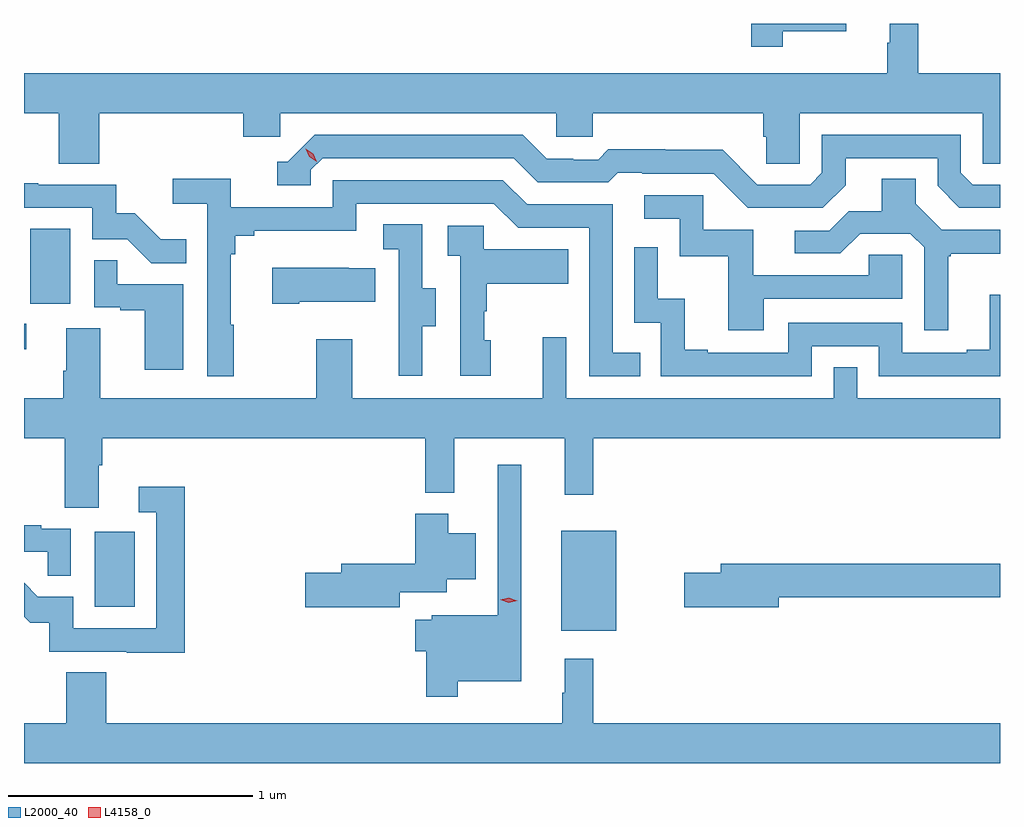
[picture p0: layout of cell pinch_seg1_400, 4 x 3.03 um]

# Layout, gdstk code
import gdstk
lib = gdstk.Library(unit=1e-6, precision=1e-09)
def R(c, l, rs):  # rectangles x0, y0, x1, y1
    for r in rs: c.add(gdstk.rectangle(r[:2], r[2:], *l))
def P(c, l, *ps):  # polygons
    for p in ps: c.add(gdstk.Polygon(p, *l))
L2000_40 = (2000, 40)
L4158_0 = (4158, 0)

pinch_seg1_400 = lib.new_cell('pinch_seg1_400')
R(pinch_seg1_400, L2000_40, [(947.381,536.291,947.608,536.701), (945.47,536.388,945.634,536.695), (945.18,537.444,945.19,537.549), (945.206,537.63,945.37,537.937)])
P(pinch_seg1_400, L2000_40, [(948.289,538.748),(948.55,538.748),(948.55,538.777),(948.16,538.777),(948.16,538.683),(948.289,538.683)],
  [(945.488,538.412),(946.079,538.412),(946.079,538.314),(946.23,538.314),(946.23,538.412),(947.361,538.412),(947.361,538.314),(947.511,538.314),(947.511,538.412),(948.209,538.412),(948.209,538.314),(948.223,538.314),(948.223,538.204),(948.36,538.204),(948.36,538.412),(949.11,538.412),(949.11,538.204),(949.18,538.204),(949.18,538.576),(948.845,538.576),(948.845,538.777),(948.728,538.777),(948.728,538.7),(948.717,538.7),(948.717,538.576),(945.18,538.576),(945.18,538.412),(945.323,538.412),(945.323,538.204),(945.488,538.204)],
  [(948.547,538.117),(948.547,538.227),(948.924,538.227),(948.924,538.113),(949.014,538.023),(949.18,538.023),(949.18,538.119),(949.068,538.119),(949.02,538.167),(949.02,538.323),(948.45,538.323),(948.45,538.167),(948.402,538.119),(948.186,538.119),(948.044,538.261),(947.808,538.261),(947.808,538.264),(947.575,538.264),(947.533,538.221),(947.43,538.221),(947.43,538.224),(947.323,538.224),(947.224,538.323),(946.371,538.323),(946.26,538.212),(946.217,538.212),(946.217,538.116),(946.356,538.116),(946.356,538.179),(946.404,538.227),(947.187,538.227),(947.286,538.128),(947.575,538.128),(947.614,538.167),(947.713,538.167),(947.713,538.164),(948.006,538.164),(948.147,538.023),(948.453,538.023)],
  [(948.967,537.825),(948.979,537.825),(948.979,537.836),(949.18,537.836),(949.18,537.933),(948.942,537.933),(948.835,538.04),(948.835,538.142),(948.695,538.142),(948.695,538.01),(948.56,538.01),(948.48,537.93),(948.339,537.93),(948.339,537.837),(948.526,537.837),(948.607,537.918),(948.813,537.918),(948.87,537.861),(948.87,537.522),(948.967,537.522)],
  [(946.039,537.545),(946.027,537.545),(946.027,537.833),(946.046,537.833),(946.046,537.91),(946.123,537.91),(946.123,537.929),(946.542,537.929),(946.542,538.041),(947.106,538.041),(947.205,537.942),(947.496,537.942),(947.496,537.333),(947.705,537.333),(947.705,537.429),(947.592,537.429),(947.592,538.038),(947.242,538.038),(947.143,538.137),(946.446,538.137),(946.446,538.026),(946.028,538.026),(946.028,538.142),(945.789,538.142),(945.789,538.04),(945.93,538.04),(945.93,537.333),(946.039,537.333)],
  [(945.845,537.895),(945.741,537.895),(945.634,538.002),(945.558,538.002),(945.558,538.119),(945.239,538.119),(945.239,538.124),(945.18,538.124),(945.18,538.023),(945.459,538.023),(945.459,537.894),(945.603,537.894),(945.701,537.796),(945.845,537.796)],
  [(948.211,537.651),(948.78,537.651),(948.78,537.831),(948.643,537.831),(948.643,537.747),(948.169,537.747),(948.169,537.933),(947.964,537.933),(947.964,538.074),(947.721,538.074),(947.721,537.978),(947.868,537.978),(947.868,537.825),(948.067,537.825),(948.067,537.522),(948.211,537.522)],
  [(946.813,537.538),(946.867,537.538),(946.867,537.693),(946.812,537.693),(946.812,537.956),(946.653,537.956),(946.653,537.853),(946.716,537.853),(946.716,537.549),(946.715,537.549),(946.715,537.336),(946.813,537.336)],
  [(947.092,537.48),(947.067,537.48),(947.067,537.599),(947.077,537.599),(947.077,537.713),(947.411,537.713),(947.411,537.853),(947.064,537.853),(947.064,537.951),(946.917,537.951),(946.917,537.827),(946.968,537.827),(946.968,537.336),(947.092,537.336)],
  [(948.408,537.456),(948.684,537.456),(948.684,537.333),(949.18,537.333),(949.18,537.667),(949.139,537.667),(949.139,537.442),(949.043,537.442),(949.043,537.429),(948.78,537.429),(948.78,537.552),(948.312,537.552),(948.312,537.429),(947.983,537.429),(947.983,537.442),(947.888,537.442),(947.888,537.65),(947.778,537.65),(947.778,537.862),(947.682,537.862),(947.682,537.552),(947.79,537.552),(947.79,537.333),(948.408,537.333)],
  [(945.832,537.711),(945.563,537.711),(945.563,537.809),(945.468,537.809),(945.468,537.615),(945.575,537.615),(945.575,537.603),(945.674,537.603),(945.674,537.36),(945.832,537.36)],
  [(946.309,537.638),(946.619,537.638),(946.619,537.775),(946.511,537.775),(946.511,537.778),(946.197,537.778),(946.197,537.631),(946.309,537.631)],
  [(945.487,536.968),(945.5,536.968),(945.5,537.08),(946.825,537.08),(946.825,536.855),(946.943,536.855),(946.943,537.08),(947.396,537.08),(947.396,536.847),(947.513,536.847),(947.513,537.08),(949.18,537.08),(949.18,537.244),(948.594,537.244),(948.594,537.371),(948.498,537.371),(948.498,537.244),(947.403,537.244),(947.403,537.493),(947.306,537.493),(947.306,537.244),(946.525,537.244),(946.525,537.484),(946.378,537.484),(946.378,537.244),(945.493,537.244),(945.493,537.53),(945.353,537.53),(945.353,537.356),(945.341,537.356),(945.341,537.244),(945.18,537.244),(945.18,537.08),(945.347,537.08),(945.347,536.794),(945.487,536.794)],
  [(946.957,536.084),(947.218,536.084),(947.218,536.971),(947.121,536.971),(947.121,536.353),(946.851,536.353),(946.851,536.335),(946.784,536.335),(946.784,536.206),(946.828,536.206),(946.828,536.019),(946.957,536.019)],
  [(945.839,536.881),(945.651,536.881),(945.651,536.775),(945.723,536.775),(945.723,536.301),(945.381,536.301),(945.381,536.43),(945.236,536.43),(945.18,536.486),(945.18,536.348),(945.206,536.322),(945.283,536.322),(945.283,536.205),(945.601,536.205),(945.601,536.2),(945.839,536.2)],
  [(946.72,536.448),(946.912,536.448),(946.912,536.501),(947.032,536.501),(947.032,536.689),(946.918,536.689),(946.918,536.77),(946.784,536.77),(946.784,536.564),(946.481,536.564),(946.481,536.528),(946.332,536.528),(946.332,536.386),(946.72,536.386)],
  [(945.372,536.709),(945.251,536.709),(945.251,536.722),(945.18,536.722),(945.18,536.613),(945.277,536.613),(945.277,536.515),(945.372,536.515)],
  [(948.274,536.428),(949.18,536.428),(949.18,536.564),(948.035,536.564),(948.035,536.528),(947.886,536.528),(947.886,536.386),(948.274,536.386)],
  [(949.18,535.912),(947.513,535.912),(947.513,536.176),(947.396,536.176),(947.396,536.036),(947.385,536.036),(947.385,535.912),(945.518,535.912),(945.518,536.12),(945.353,536.12),(945.353,535.912),(945.18,535.912),(945.18,535.748),(949.18,535.748)])
P(pinch_seg1_400, L4158_0, [(947.166,536.405),(947.131,536.417),(947.131,536.417),(947.131,536.417),(947.167,536.425),(947.202,536.413),(947.202,536.413),(947.202,536.413)],
  [(946.38,538.213),(946.35,538.233),(946.334,538.266),(946.334,538.266),(946.334,538.266),(946.365,538.246),(946.38,538.213),(946.38,538.213)])

lib.write_gds('pinch_seg1_400.gds')
